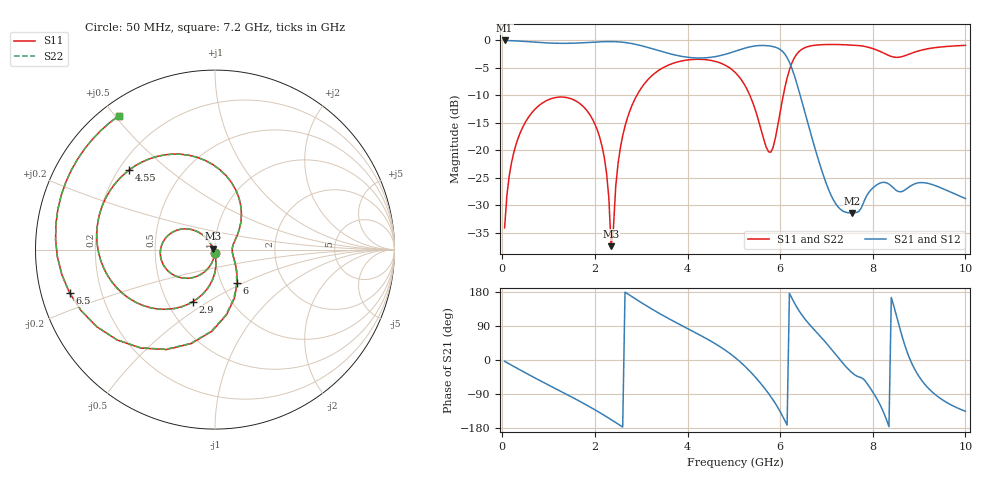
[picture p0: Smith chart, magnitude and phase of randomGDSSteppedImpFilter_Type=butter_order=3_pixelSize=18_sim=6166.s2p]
! freq	dB(S11)	phase(S11)	dB(S12)	phase(S12)
!  dB(S21)	phase(S21)	dB(S22)	phase(S22)
!S-par simulation data
#  GHz  S  DB  R 50
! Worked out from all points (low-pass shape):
!   200 points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, 50 MHz to 10 GHz, reference 50 ohm
!   highest |S21| = -0.01 dB at 50 MHz (marker M1); lowest = -31.3 dB at 7.55 GHz (marker M2)
!   |S21| within 3 dB of the highest: start of sweep to 3.956 GHz; 4.555 GHz to 6.142 GHz (1.587 GHz wide, 29.7 % of centre)
!   lowest |S11| = -37.4 dB at 2.35 GHz (marker M3), VSWR 1.03, Z = 48.8 + j0.486 ohm
!   |S11| at or under -10 dB: start of sweep to 2.904 GHz; 5.347 GHz to 6.067 GHz (720.8 MHz wide, 12.6 % of centre)
!   |S22| runs from -37.8 to -0.7 dB; largest |S21 - S12| = 0
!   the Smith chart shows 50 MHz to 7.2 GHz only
!   S11 on the Smith chart (normalised r, x): 50 MHz: 1.00, -0.04; 2.9 GHz: 0.67, -0.43; 4.55 GHz: 0.24, +0.37; 6 GHz: 1.18, -0.46; 6.5 GHz: 0.09, -0.14; 7.2 GHz: 0.05, +0.51
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0.05  -34.06 -93.5  -0.01 -3.5  -0.01 -3.5  -34.06 -93.5
0.55  -14.16 -127.7  -0.22 -37.2  -0.22 -37.2  -14.16 -127.7
1.75  -12.03 156.2  -0.42 -114.1  -0.42 -114.1  -12.03 156.1
2.2  -21.16 127.9  -0.22 -146.0  -0.22 -146.0  -21.17 127.4
2.35  -37.39 158.4  -0.21 -157.3  -0.21 -157.3  -37.77 156.2
2.55  -19.49 -88.3  -0.29 -173.0  -0.29 -173.0  -19.50 -87.7
2.9  -10.06 -112.9  -0.75 159.3  -0.75 159.3  -10.06 -112.6
3.4  -5.32 -148.8  -1.91 122.3  -1.91 122.3  -5.32 -148.7
4.55  -3.71 137.1  -3.01 46.5  -3.01 46.5  -3.71 137.3
5.05  -6.01 96.4  -1.91 4.2  -1.91 4.2  -6.01 96.6
5.65  -18.09 25.7  -0.92 -72.4  -0.92 -72.4  -18.11 25.3
6  -13.01 -56.3  -1.64 -136.2  -1.64 -136.2  -12.99 -57.3
6.25  -4.17 -115.8  -5.00 163.9  -5.00 163.9  -4.16 -116.2
6.5  -1.46 -163.4  -12.02 113.7  -12.02 113.7  -1.45 -163.6
6.7  -0.94 171.0  -18.11 84.5  -18.11 84.5  -0.93 170.8
7.2  -0.74 125.7  -29.69 14.1  -29.69 14.1  -0.74 125.7
7.55  -0.86 96.1  -31.34 -33.3  -31.34 -33.3  -0.85 96.1
7.95  -1.35 50.2  -27.25 -75.0  -27.25 -75.0  -1.36 50.1
8.35  -2.75 -31.3  -26.11 -175.9  -26.11 -175.9  -2.79 -31.8
8.6  -3.01 -102.1  -27.52 76.8  -27.52 76.8  -3.03 -103.0
8.95  -2.00 -175.6  -25.94 -34.0  -25.94 -34.0  -2.00 -176.4
10  -0.90 96.4  -28.74 -135.3  -28.74 -135.3  -0.89 96.0
